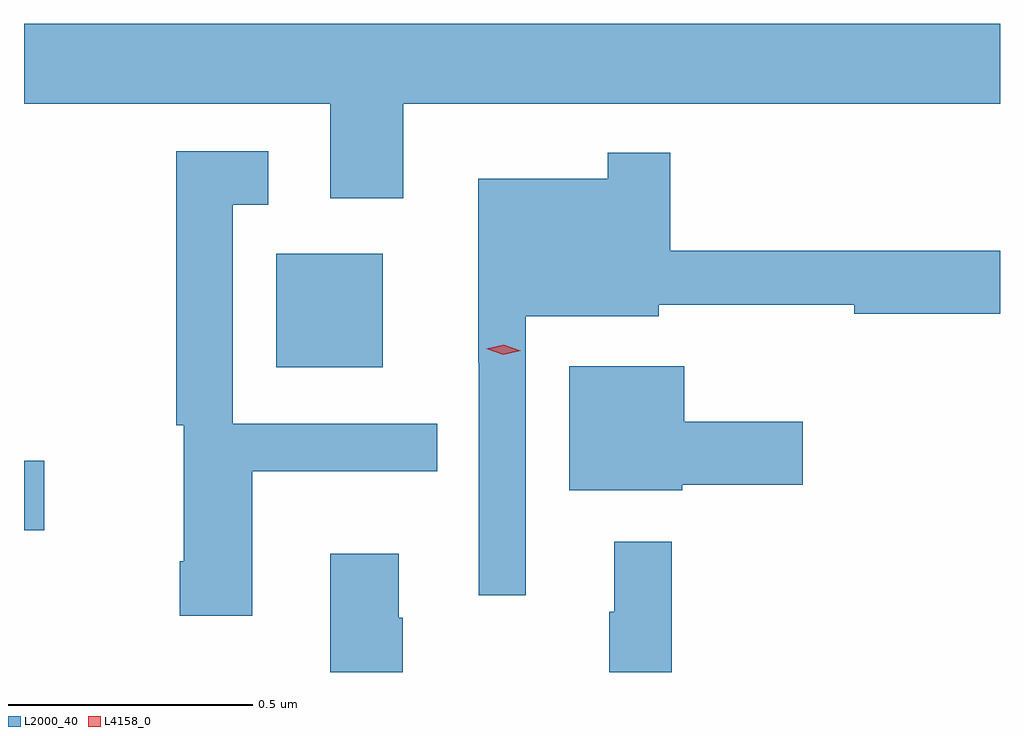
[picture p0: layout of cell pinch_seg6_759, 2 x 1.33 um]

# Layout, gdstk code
import gdstk
lib = gdstk.Library(unit=1e-6, precision=1e-09)
def R(c, l, rs):  # rectangles x0, y0, x1, y1
    for r in rs: c.add(gdstk.rectangle(r[:2], r[2:], *l))
def P(c, l, *ps):  # polygons
    for p in ps: c.add(gdstk.Polygon(p, *l))
L2000_40 = (2000, 40)
L4158_0 = (4158, 0)

pinch_seg6_759 = lib.new_cell('pinch_seg6_759')
R(pinch_seg6_759, L2000_40, [(502.909,945.13,502.951,945.272), (503.426,945.464,503.644,945.697)])
P(pinch_seg6_759, L2000_40, [(503.686,946.004),(504.909,946.004),(504.909,946.168),(502.909,946.168),(502.909,946.004),(503.537,946.004),(503.537,945.81),(503.686,945.81)],
  [(503.377,945.251),(503.756,945.251),(503.756,945.348),(503.337,945.348),(503.337,945.797),(503.41,945.797),(503.41,945.907),(503.221,945.907),(503.221,945.345),(503.236,945.345),(503.236,945.067),(503.228,945.067),(503.228,944.955),(503.377,944.955)],
  [(503.937,945.569),(504.21,945.569),(504.21,945.592),(504.61,945.592),(504.61,945.574),(504.909,945.574),(504.909,945.703),(504.233,945.703),(504.233,945.904),(504.105,945.904),(504.105,945.85),(503.84,945.85),(503.84,945.473),(503.841,945.473),(503.841,944.997),(503.937,944.997)],
  [(504.258,945.223),(504.505,945.223),(504.505,945.352),(504.262,945.352),(504.262,945.466),(504.026,945.466),(504.026,945.212),(504.258,945.212)],
  [(504.236,945.106),(504.119,945.106),(504.119,944.963),(504.108,944.963),(504.108,944.839),(504.236,944.839)],
  [(503.685,944.951),(503.677,944.951),(503.677,945.082),(503.537,945.082),(503.537,944.839),(503.685,944.839)])
P(pinch_seg6_759, L4158_0, [(503.891,945.49),(503.856,945.502),(503.856,945.502),(503.856,945.502),(503.892,945.51),(503.927,945.498),(503.927,945.498),(503.927,945.498)])

lib.write_gds('pinch_seg6_759.gds')
